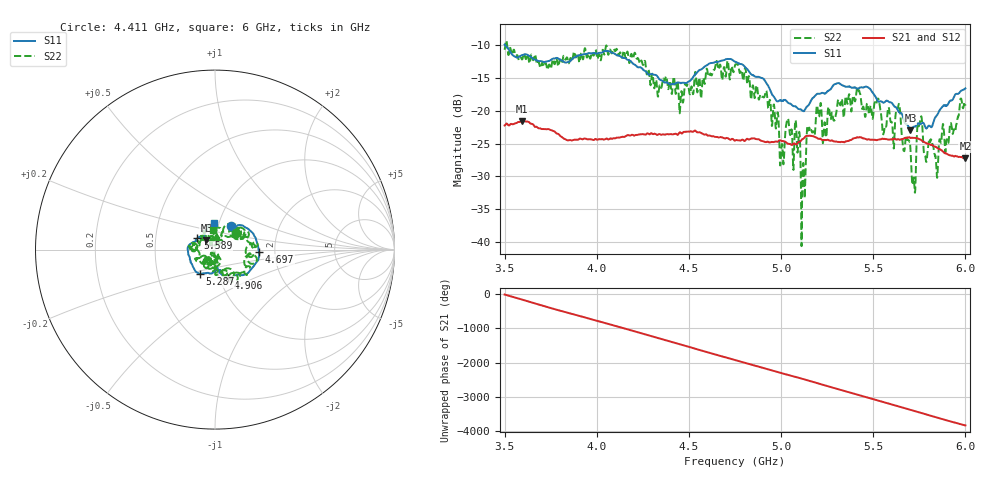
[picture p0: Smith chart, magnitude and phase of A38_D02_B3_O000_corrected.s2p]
! Created with skrf 1.9.0 (http://scikit-rf.org).
# Hz S RI R 50.0
!freq ReS11 ImS11 ReS21 ImS21 ReS12 ImS12 ReS22 ImS22
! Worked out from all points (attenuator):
!   1601 points, 3.5 GHz to 6 GHz, reference 50 ohm
!   highest |S21| = -21.58 dB at 3.594 GHz (marker M1); lowest = -27.2 dB at 6 GHz (marker M2)
!   lowest |S11| = -23.0 dB at 5.702 GHz (marker M3), VSWR 1.15, Z = 45.2 + j4.78 ohm
!   |S11| at or under -10 dB: 3.503 GHz to end of sweep
!   |S22| runs from -40.6 to -9.3 dB; largest |S21 - S12| = 0.00091
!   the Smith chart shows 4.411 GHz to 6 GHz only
!   S11 on the Smith chart (normalised r, x): 4.411 GHz: 1.15, +0.32; 4.697 GHz: 1.65, -0.04; 4.906 GHz: 1.10, -0.36; 5.287 GHz: 0.82, -0.23; 5.589 GHz: 0.82, +0.10; 6 GHz: 0.94, +0.28
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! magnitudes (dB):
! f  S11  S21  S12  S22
! 3.5 GHz  -9.9  -22.2  -22.2  -10.7
! 3.594 GHz  -11.5  -21.6  -21.6  -12.2
! 3.917 GHz  -11.5  -24.3  -24.3  -11.2
! 4.334 GHz  -15.0  -23.6  -23.5  -17.5
! 4.411 GHz  -15.9  -23.6  -23.6  -16.5
! 4.697 GHz  -12.2  -24.2  -24.2  -14.5
! 4.75 GHz  -12.5  -24.5  -24.5  -13.1
! 4.906 GHz  -15.2  -24.7  -24.7  -18.0
! 5.005 GHz  -18.4  -24.6  -24.6  -25.1
! 5.089 GHz  -19.6  -24.9  -24.9  -26.4
! 5.119 GHz  -20.0  -24.3  -24.2  -28.1
! 5.167 GHz  -18.2  -23.8  -23.8  -23.2
! 5.287 GHz  -16.0  -24.7  -24.6  -21.4
! 5.419 GHz  -16.6  -24.1  -24.0  -16.8
! 5.584 GHz  -18.6  -24.4  -24.4  -19.5
! 5.589 GHz  -18.7  -24.4  -24.3  -20.5
! 5.636 GHz  -20.0  -24.3  -24.3  -19.3
! 5.702 GHz  -23.0  -24.1  -24.1  -25.6
! 5.72 GHz  -22.4  -24.1  -24.1  -30.2
! 5.753 GHz  -22.0  -24.4  -24.3  -21.8
! 5.842 GHz  -20.8  -25.5  -25.5  -28.5
! 6 GHz  -16.6  -27.2  -27.2  -19.2
